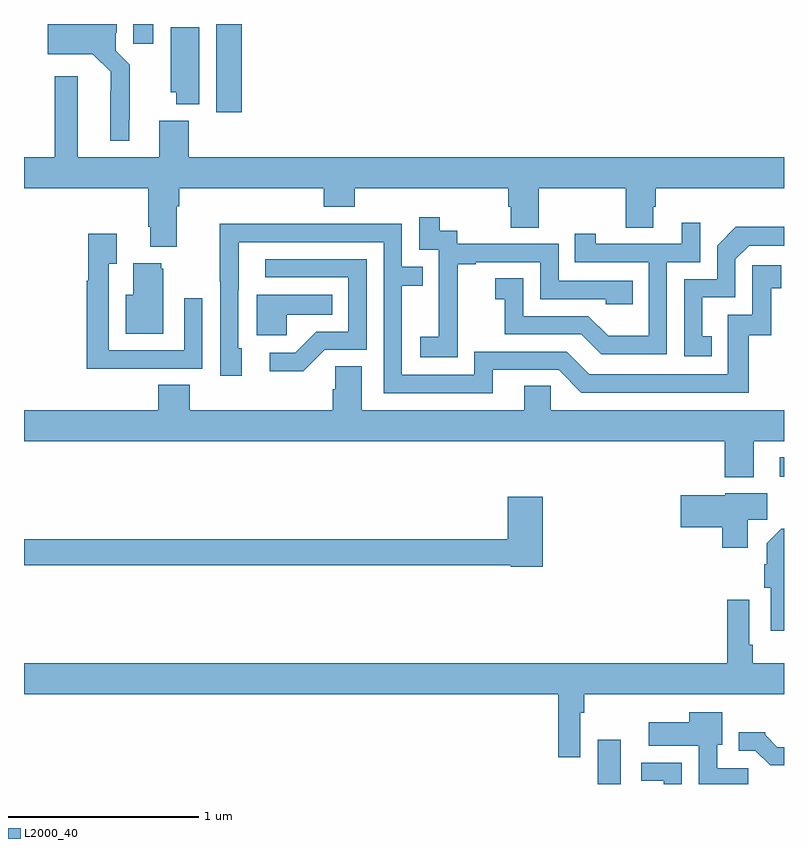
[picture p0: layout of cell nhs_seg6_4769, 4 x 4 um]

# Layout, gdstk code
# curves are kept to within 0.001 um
import gdstk
lib = gdstk.Library(unit=1e-6, precision=1e-09)
def R(c, l, rs):  # rectangles x0, y0, x1, y1
    for r in rs: c.add(gdstk.rectangle(r[:2], r[2:], *l))
def P(c, l, *ps):  # polygons
    for p in ps: c.add(gdstk.Polygon(p, *l))
L2000_40 = (2000, 40)

nhs_seg6_4769 = lib.new_cell('nhs_seg6_4769')
R(nhs_seg6_4769, L2000_40, [(396.02,977.5,396.142,977.734), (396.977,979.116,397,979.219), (394.013,981.036,394.145,981.5), (393.575,981.396,393.679,981.5)])
P(nhs_seg6_4769, L2000_40, [(393.553,980.995),(393.557,980.995),(393.557,981.286),(393.483,981.36),(393.483,981.454),(393.487,981.454),(393.487,981.5),(393.126,981.499),(393.126,981.341),(393.363,981.341),(393.456,981.248),(393.455,980.885),(393.553,980.885)],
  [(393.922,981.482),(393.773,981.482),(393.773,981.141),(393.8,981.141),(393.8,981.077),(393.922,981.077)],
  [(393.805,980.54),(393.818,980.54),(393.818,980.636),(394.577,980.636),(394.577,980.537),(394.742,980.537),(394.742,980.636),(395.549,980.636),(395.549,980.538),(395.561,980.538),(395.561,980.428),(395.709,980.428),(395.709,980.636),(396.166,980.636),(396.166,980.428),(396.313,980.428),(396.313,980.538),(396.326,980.538),(396.326,980.636),(397,980.636),(397,980.8),(393.866,980.8),(393.866,980.992),(393.713,980.992),(393.713,980.8),(393.283,980.8),(393.283,981.226),(393.161,981.226),(393.161,980.8),(393,980.8),(393,980.636),(393.653,980.636),(393.653,980.434),(393.665,980.434),(393.665,980.327),(393.805,980.327)],
  [(395.283,979.951),(395.282,979.951),(395.282,980.235),(395.377,980.235),(395.377,980.247),(395.718,980.247),(395.718,980.052),(396.063,980.052),(396.063,980.025),(396.203,980.025),(396.203,980.148),(395.814,980.148),(395.814,980.343),(395.28,980.343),(395.28,980.412),(395.188,980.412),(395.188,980.482),(395.079,980.482),(395.079,980.313),(395.184,980.313),(395.184,980.084),(395.183,980.084),(395.183,979.855),(395.085,979.855),(395.085,979.745),(395.283,979.745)],
  [(396.384,980.247),(396.558,980.247),(396.558,980.455),(396.461,980.455),(396.461,980.343),(396.01,980.343),(396.01,980.395),(395.899,980.395),(395.899,980.247),(396.288,980.247),(396.288,979.858),(396.074,979.858),(395.97,979.962),(395.628,979.962),(395.628,980.161),(395.481,980.161),(395.481,980.051),(395.53,980.051),(395.53,979.866),(395.933,979.866),(396.038,979.761),(396.384,979.761)],
  [(395.467,979.68),(395.814,979.68),(395.934,979.56),(396.814,979.56),(396.814,979.863),(396.932,979.863),(396.932,980.109),(396.985,980.109),(396.985,980.23),(396.834,980.23),(396.834,979.971),(396.705,979.971),(396.705,979.656),(395.976,979.656),(395.856,979.776),(395.37,979.776),(395.37,979.653),(394.989,979.653),(394.989,980.122),(395.099,980.122),(395.099,980.223),(394.989,980.223),(394.989,980.448),(394.493,980.448),(394.493,980.45),(394.03,980.45),(394.03,980.143),(394.032,980.143),(394.032,979.65),(394.147,979.65),(394.147,979.794),(394.128,979.794),(394.129,980.352),(394.893,980.352),(394.893,979.557),(395.467,979.557)],
  [(396.62,979.857),(396.571,979.857),(396.571,980.061),(396.744,980.061),(396.744,980.262),(396.816,980.334),(397,980.334),(397,980.432),(396.746,980.432),(396.648,980.334),(396.648,980.157),(396.474,980.157),(396.474,979.752),(396.62,979.752)],
  [(393.623,979.686),(393.939,979.686),(393.939,980.056),(393.843,980.056),(393.843,979.782),(393.447,979.782),(393.447,980.239),(393.487,980.239),(393.487,980.395),(393.339,980.395),(393.339,980.15),(393.331,980.15),(393.331,979.685),(393.623,979.685)],
  [(394.584,979.785),(394.803,979.785),(394.803,980.262),(394.269,980.262),(394.269,980.166),(394.707,980.166),(394.707,979.881),(394.538,979.881),(394.427,979.77),(394.293,979.77),(394.293,979.673),(394.471,979.673)],
  [(393.733,980.211),(393.722,980.211),(393.722,980.242),(393.575,980.242),(393.575,980.074),(393.536,980.074),(393.536,979.871),(393.733,979.871)],
  [(394.383,979.97),(394.622,979.97),(394.622,980.074),(394.226,980.074),(394.226,979.862),(394.383,979.862)],
  [(396.841,979.304),(397,979.304),(397,979.468),(395.772,979.468),(395.772,979.595),(395.633,979.595),(395.633,979.468),(394.777,979.468),(394.777,979.7),(394.638,979.7),(394.638,979.577),(394.625,979.577),(394.625,979.468),(393.872,979.468),(393.872,979.601),(393.707,979.601),(393.707,979.468),(393,979.468),(393,979.304),(396.689,979.304),(396.689,979.115),(396.841,979.115)],
  [(396.808,978.892),(396.913,978.892),(396.913,979.03),(396.69,979.03),(396.69,979.021),(396.456,979.021),(396.456,978.851),(396.674,978.851),(396.674,978.744),(396.808,978.744)],
  [(395.729,979.012),(395.546,979.012),(395.546,978.788),(393,978.788),(393,978.652),(395.562,978.652),(395.562,978.644),(395.729,978.644)],
  [(397,978.844),(396.986,978.844),(396.908,978.766),(396.908,978.656),(396.896,978.656),(396.896,978.534),(396.929,978.534),(396.929,978.306),(397,978.306)],
  [(395.928,977.876),(395.948,977.876),(395.948,977.972),(397,977.972),(397,978.136),(396.836,978.136),(396.836,978.232),(396.816,978.232),(396.816,978.469),(396.7,978.469),(396.7,978.136),(393,978.136),(393,977.972),(395.812,977.972),(395.812,977.64),(395.928,977.64)],
  [(396.811,977.583),(396.648,977.583),(396.648,977.706),(396.676,977.706),(396.676,977.878),(396.5,977.878),(396.5,977.824),(396.288,977.824),(396.288,977.702),(396.552,977.702),(396.552,977.5),(396.811,977.5)],
  [(397,977.694),(396.964,977.694),(396.9,977.758),(396.9,977.773),(396.761,977.773),(396.761,977.676),(396.849,977.676),(396.928,977.598),(397,977.598)],
  [(396.462,977.613),(396.249,977.613),(396.249,977.517),(396.366,977.517),(396.366,977.5),(396.462,977.5)])

lib.write_gds('nhs_seg6_4769.gds')
